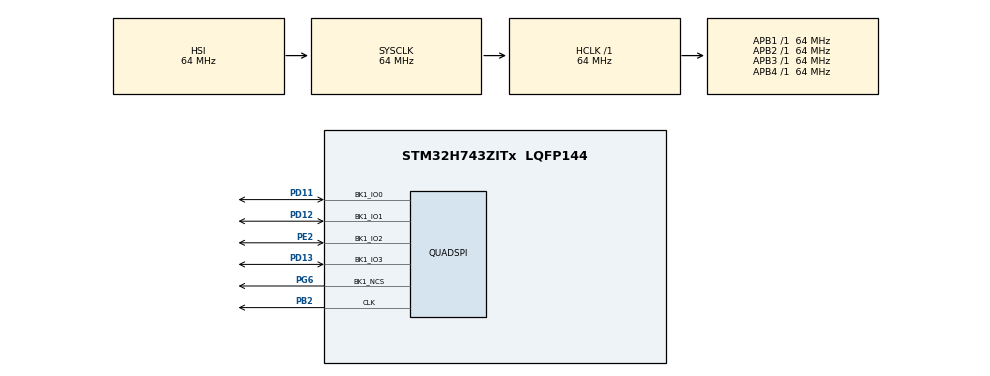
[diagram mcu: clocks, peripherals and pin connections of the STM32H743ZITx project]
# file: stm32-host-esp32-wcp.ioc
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CORTEX_M7.default_mode_Activation=1
Mcu.Family=STM32H7
Mcu.Name=STM32H743ZITx
Mcu.Package=LQFP144
NUCLEO-H743ZI2.BUTTON=1
NUCLEO-H743ZI2.LD1=true
NUCLEO-H743ZI2.LD2=true
NUCLEO-H743ZI2.LD3=true
NUCLEO-H743ZI2.VCP=true
NVIC.EXTI15_10_IRQn=true\:0\:0\:false\:false\:true\:false\:true\:true
NVIC.PriorityGroup=NVIC_PRIORITYGROUP_4
PA13\ (JTMS/SWDIO).GPIO_Label=JTMS
PA13\ (JTMS/SWDIO).Signal=DEBUG_JTMS-SWDIO
PA14\ (JTCK/SWCLK).GPIO_Label=JTCK
PA14\ (JTCK/SWCLK).Signal=DEBUG_JTCK-SWCLK
PB2.Mode=Single Bank 1
PB2.Signal=QUADSPI_CLK
PC14-OSC32_IN\ (OSC32_IN).Signal=RCC_OSC32_IN
PC15-OSC32_OUT\ (OSC32_OUT).Signal=RCC_OSC32_OUT
PD11.Mode=Single Bank 1
PD11.Signal=QUADSPI_BK1_IO0
PD12.Mode=Single Bank 1
PD12.Signal=QUADSPI_BK1_IO1
PD13.Mode=Single Bank 1
PD13.Signal=QUADSPI_BK1_IO3
PD8.Signal=USART3_TX
PD9.Signal=USART3_RX
PE2.Mode=Single Bank 1
PE2.Signal=QUADSPI_BK1_IO2
PG6.Mode=Single Bank 1
PG6.Signal=QUADSPI_BK1_NCS
PH0-OSC_IN\ (PH0).Signal=RCC_OSC_IN
PH1-OSC_OUT\ (PH1).Signal=RCC_OSC_OUT
ProjectManager.HeapSize=0x200
ProjectManager.StackSize=0x400
ProjectManager.TargetToolchain=CMake
QUADSPI.ClockPrescaler=8
QUADSPI.FifoThreshold=4
QUADSPI.FlashSize=7
RCC.ADCFreq_Value=129000000
RCC.APB1Freq_Value=64000000
RCC.APB2Freq_Value=64000000
RCC.APB3Freq_Value=64000000
RCC.APB4Freq_Value=64000000
RCC.CortexFreq_Value=64000000
RCC.HCLKFreq_Value=64000000
RCC.SYSCLKFreq_VALUE=64000000
RCC.USBFreq_Value=129000000
VP_MEMORYMAP_VS_MEMORYMAP.Mode=CurAppReg
VP_NUCLEO-H743ZI2_VS_BSP_COMMON.Mode=COMMON
board=NUCLEO-H743ZI2

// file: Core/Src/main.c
/* USER CODE BEGIN Header */
/**
  ******************************************************************************
  * @file           : main.c
  * @brief          : Main program body
  ******************************************************************************
  * @attention
  *
  * Copyright (c) 2026 STMicroelectronics.
  * All rights reserved.
  *
  * This software is licensed under terms that can be found in the LICENSE file
  * in the root directory of this software component.
  * If no LICENSE file comes with this software, it is provided AS-IS.
  *
  ******************************************************************************
  */
/* USER CODE END Header */
#include "main.h"
#include "quadspi.h"
#include "gpio.h"

/* USER CODE BEGIN Includes */

#include <stdio.h>
#include <string.h>
#include "wcp.h"

/* USER CODE END Includes */

/* USER CODE BEGIN PD */

#define WCP_REG_RX_COUNT_ADDR    4U
#define WCP_POLL_INTERVAL_MS     1U
#define WCP_RX_WAIT_TIMEOUT_MS   200U

/* USER CODE END PD */

COM_InitTypeDef BspCOMInit;

void SystemClock_Config(void);
static void MPU_Config(void);
/* USER CODE BEGIN PFP */

static void WCP_DumpAllRegisters(void);
static wcp_err_t WCP_ReadRegisterU32(uint32_t reg_addr, uint32_t *value);
static wcp_err_t WCP_WaitRxCountIncrement(uint32_t previous_count, uint32_t *new_count);
static void WCP_RunTestProgram(void);

/* USER CODE END PFP */

int main(void)
{

  /* MPU Configuration--------------------------------------------------------*/
  MPU_Config();

  /* MCU Configuration--------------------------------------------------------*/

  /* Reset of all peripherals, Initializes the Flash interface and the Systick. */
  HAL_Init();

  /* Configure the system clock */
  SystemClock_Config();

  /* Initialize all configured peripherals */
  MX_GPIO_Init();
  MX_QUADSPI_Init();
  /* USER CODE BEGIN 2 */

  wcp_init();

  /* USER CODE END 2 */

  /* Initialize leds */
  BSP_LED_Init(LED_GREEN);
  BSP_LED_Init(LED_YELLOW);
  BSP_LED_Init(LED_RED);

  /* Initialize USER push-button, will be used to trigger an interrupt each time it's pressed.*/
  BSP_PB_Init(BUTTON_USER, BUTTON_MODE_EXTI);

  /* Initialize COM1 port (115200, 8 bits (7-bit data + 1 stop bit), no parity */
  BspCOMInit.BaudRate   = 115200;
  BspCOMInit.WordLength = COM_WORDLENGTH_8B;
  BspCOMInit.StopBits   = COM_STOPBITS_1;
  BspCOMInit.Parity     = COM_PARITY_NONE;
  BspCOMInit.HwFlowCtl  = COM_HWCONTROL_NONE;
  if (BSP_COM_Init(COM1, &BspCOMInit) != BSP_ERROR_NONE)
  {
    Error_Handler();
  }

  /* Infinite loop */
  while (1)
  {

    /* USER CODE BEGIN 3 */
    WCP_RunTestProgram();
    HAL_Delay(1000);
  }
  /* USER CODE END 3 */
}

void SystemClock_Config(void)
{
  RCC_OscInitTypeDef RCC_OscInitStruct = {0};
  RCC_ClkInitTypeDef RCC_ClkInitStruct = {0};

  /** Supply configuration update enable
  */
  HAL_PWREx_ConfigSupply(PWR_LDO_SUPPLY);

  /** Configure the main internal regulator output voltage
  */
  __HAL_PWR_VOLTAGESCALING_CONFIG(PWR_REGULATOR_VOLTAGE_SCALE3);

  while(!__HAL_PWR_GET_FLAG(PWR_FLAG_VOSRDY)) {}

  /** Initializes the RCC Oscillators according to the specified parameters
  * in the RCC_OscInitTypeDef structure.
  */
  RCC_OscInitStruct.OscillatorType = RCC_OSCILLATORTYPE_HSI;
  RCC_OscInitStruct.HSIState = RCC_HSI_DIV1;
  RCC_OscInitStruct.HSICalibrationValue = RCC_HSICALIBRATION_DEFAULT;
  RCC_OscInitStruct.PLL.PLLState = RCC_PLL_NONE;
  if (HAL_RCC_OscConfig(&RCC_OscInitStruct) != HAL_OK)
  {
    Error_Handler();
  }

  /** Initializes the CPU, AHB and APB buses clocks
  */
  RCC_ClkInitStruct.ClockType = RCC_CLOCKTYPE_HCLK|RCC_CLOCKTYPE_SYSCLK
                              |RCC_CLOCKTYPE_PCLK1|RCC_CLOCKTYPE_PCLK2
                              |RCC_CLOCKTYPE_D3PCLK1|RCC_CLOCKTYPE_D1PCLK1;
  RCC_ClkInitStruct.SYSCLKSource = RCC_SYSCLKSOURCE_HSI;
  RCC_ClkInitStruct.SYSCLKDivider = RCC_SYSCLK_DIV1;
  RCC_ClkInitStruct.AHBCLKDivider = RCC_HCLK_DIV1;
  RCC_ClkInitStruct.APB3CLKDivider = RCC_APB3_DIV1;
  RCC_ClkInitStruct.APB1CLKDivider = RCC_APB1_DIV1;
  RCC_ClkInitStruct.APB2CLKDivider = RCC_APB2_DIV1;
  RCC_ClkInitStruct.APB4CLKDivider = RCC_APB4_DIV1;

  if (HAL_RCC_ClockConfig(&RCC_ClkInitStruct, FLASH_LATENCY_1) != HAL_OK)
  {
    Error_Handler();
  }
}

/* USER CODE BEGIN 4 */

static void WCP_DumpAllRegisters(void)
{
  uint8_t reg_data[4];
  uint32_t reg_value;

  printf("WCP REGISTER DUMP START\r\n");

  for (uint32_t reg_addr = 0; reg_addr < 20U; reg_addr += 4U)
  {
    memset(reg_data, 0, sizeof(reg_data));

    wcp_err_t reg_status = wcp_read_reg(reg_addr, reg_data, (uint16_t)sizeof(reg_data));
    if (reg_status == WCP_ERR_NONE)
    {
      reg_value = ((uint32_t)reg_data[0]) |
                  ((uint32_t)reg_data[1] << 8) |
                  ((uint32_t)reg_data[2] << 16) |
                  ((uint32_t)reg_data[3] << 24);

      printf("REG[0x%02lX] = 0x%08lX (%lu)\r\n",
             (unsigned long)reg_addr,
             (unsigned long)reg_value,
             (unsigned long)reg_value);
    }
    else
    {
      printf("REG[0x%02lX] READ FAILED (%d)\r\n", (unsigned long)reg_addr, (int)reg_status);
    }
  }

  printf("WCP REGISTER DUMP END\r\n");
}

static wcp_err_t WCP_ReadRegisterU32(uint32_t reg_addr, uint32_t *value)
{
  uint8_t reg_data[4];
  wcp_err_t status;

  if (value == NULL)
  {
    return WCP_ERR_INVALID_ARG;
  }

  status = wcp_read_reg(reg_addr, reg_data, (uint16_t)sizeof(reg_data));
  if (status != WCP_ERR_NONE)
  {
    return status;
  }

  *value = ((uint32_t)reg_data[0]) |
           ((uint32_t)reg_data[1] << 8) |
           ((uint32_t)reg_data[2] << 16) |
           ((uint32_t)reg_data[3] << 24);

  return WCP_ERR_NONE;
}

static wcp_err_t WCP_WaitRxCountIncrement(uint32_t previous_count, uint32_t *new_count)
{
  uint32_t current_count = previous_count;

  if (new_count == NULL)
  {
    return WCP_ERR_INVALID_ARG;
  }

  for (uint32_t elapsed = 0U; elapsed < WCP_RX_WAIT_TIMEOUT_MS; elapsed += WCP_POLL_INTERVAL_MS)
  {
    wcp_err_t status = WCP_ReadRegisterU32(WCP_REG_RX_COUNT_ADDR, &current_count);
    if (status != WCP_ERR_NONE)
    {
      return status;
    }

    if (current_count != previous_count)
    {
      *new_count = current_count;
      return WCP_ERR_NONE;
    }

    HAL_Delay(WCP_POLL_INTERVAL_MS);
  }

  *new_count = current_count;
  return WCP_ERR_TIMEOUT;
}

static void WCP_RunTestProgram(void)
{
  uint8_t tx_buffer[64];
  uint8_t expected_rx_buffer[64];
  uint8_t rx_buffer[64] = {0};
  uint16_t rx_len = (uint16_t)sizeof(rx_buffer);
  uint32_t rx_count_before = 0U;
  uint32_t rx_count_after = 0U;

  wcp_err_t reg_status = WCP_ReadRegisterU32(WCP_REG_RX_COUNT_ADDR, &rx_count_before);
  if (reg_status != WCP_ERR_NONE)
  {
    BSP_LED_On(LED_RED);
    printf("WCP TEST RX_COUNT PRE-READ FAILED (%d)\r\n", (int)reg_status);
    return;
  }

  tx_buffer[0] = 'T';
  tx_buffer[1] = 'E';
  tx_buffer[2] = 'S';
  tx_buffer[3] = 'T';
  for (uint32_t i = 4U; i < sizeof(tx_buffer); ++i)
  {
    tx_buffer[i] = (uint8_t)i;
  }

  expected_rx_buffer[0] = 'O';
  expected_rx_buffer[1] = 'K';
  expected_rx_buffer[2] = '6';
  expected_rx_buffer[3] = '4';
  for (uint32_t i = 4U; i < sizeof(expected_rx_buffer); ++i)
  {
    expected_rx_buffer[i] = (uint8_t)(0xA0U + (uint8_t)i);
  }

  wcp_err_t tx_status = wcp_write_data(tx_buffer, (uint16_t)sizeof(tx_buffer));
  WCP_DumpAllRegisters();
  if (tx_status != WCP_ERR_NONE)
  {
    BSP_LED_On(LED_RED);
    printf("WCP TEST TX FAILED (%d)\r\n", (int)tx_status);
    return;
  }

  wcp_err_t wait_status = WCP_WaitRxCountIncrement(rx_count_before, &rx_count_after);
  if (wait_status != WCP_ERR_NONE)
  {
    BSP_LED_On(LED_RED);
    printf("WCP TEST WAIT RX_COUNT TIMEOUT/FAIL (%d), before=%lu after=%lu\r\n",
           (int)wait_status,
           (unsigned long)rx_count_before,
           (unsigned long)rx_count_after);
    return;
  }

  wcp_err_t rx_status = wcp_read_data(rx_buffer, rx_len);
  WCP_DumpAllRegisters();
  if (rx_status != WCP_ERR_NONE)
  {
    BSP_LED_On(LED_RED);
    printf("WCP TEST RX FAILED (%d)\r\n", (int)rx_status);
    return;
  }

  if (memcmp(rx_buffer, expected_rx_buffer, sizeof(expected_rx_buffer)) == 0)
  {
    BSP_LED_Off(LED_RED);
    BSP_LED_Toggle(LED_GREEN);
    printf("WCP TEST PASS (fixed 64-byte response)\r\n");
  }
  else
  {
    uint32_t mismatch_index = 0U;
    while (mismatch_index < sizeof(expected_rx_buffer) &&
           rx_buffer[mismatch_index] == expected_rx_buffer[mismatch_index])
    {
      ++mismatch_index;
    }

    BSP_LED_On(LED_RED);
    if (mismatch_index < sizeof(expected_rx_buffer))
    {
      printf("WCP TEST INVALID 64-byte RESPONSE idx=%lu rx=0x%02X exp=0x%02X\r\n",
             (unsigned long)mismatch_index,
             rx_buffer[mismatch_index],
             expected_rx_buffer[mismatch_index]);
    }
    else
    {
      printf("WCP TEST INVALID 64-byte RESPONSE (unknown diff)\r\n");
    }
  }
}

/* USER CODE END 4 */

 /* MPU Configuration */

void MPU_Config(void)
{
  MPU_Region_InitTypeDef MPU_InitStruct = {0};

  /* Disables the MPU */
  HAL_MPU_Disable();

  /** Initializes and configures the Region and the memory to be protected
  */
  MPU_InitStruct.Enable = MPU_REGION_ENABLE;
  MPU_InitStruct.Number = MPU_REGION_NUMBER0;
  MPU_InitStruct.BaseAddress = 0x0;
  MPU_InitStruct.Size = MPU_REGION_SIZE_4GB;
  MPU_InitStruct.SubRegionDisable = 0x87;
  MPU_InitStruct.TypeExtField = MPU_TEX_LEVEL0;
  MPU_InitStruct.AccessPermission = MPU_REGION_NO_ACCESS;
  MPU_InitStruct.DisableExec = MPU_INSTRUCTION_ACCESS_DISABLE;
  MPU_InitStruct.IsShareable = MPU_ACCESS_SHAREABLE;
  MPU_InitStruct.IsCacheable = MPU_ACCESS_NOT_CACHEABLE;
  MPU_InitStruct.IsBufferable = MPU_ACCESS_NOT_BUFFERABLE;

  HAL_MPU_ConfigRegion(&MPU_InitStruct);
  /* Enables the MPU */
  HAL_MPU_Enable(MPU_PRIVILEGED_DEFAULT);

}

void Error_Handler(void)
{
  __disable_irq();
  while (1)
  {
  }
}
